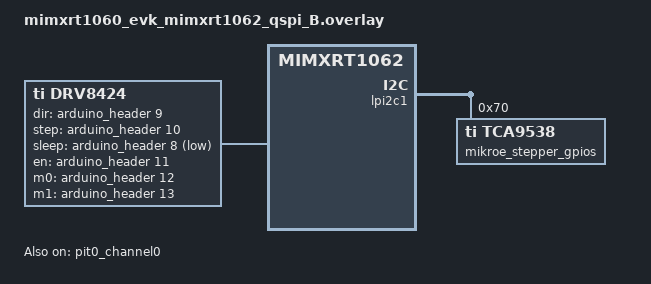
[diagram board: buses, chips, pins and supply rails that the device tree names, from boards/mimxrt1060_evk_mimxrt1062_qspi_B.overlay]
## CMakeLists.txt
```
# SPDX-FileCopyrightText: Copyright (c) 2024 Jilay Sandeep Pandya
# SPDX-License-Identifier: Apache-2.0

cmake_minimum_required(VERSION 3.20.0)
find_package(Zephyr REQUIRED HINTS $ENV{ZEPHYR_BASE})
project(zephyr_stepper_motion_control)

target_sources(app PRIVATE src/main.c)
```

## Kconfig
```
# Copyright (c) 2024 Josselin Bunt
# SPDX-License-Identifier: Apache-2.0

mainmenu "Stepper API Test"

source "Kconfig.zephyr"

config STEPPER_TEST_TIMING_TIMEOUT_TOLERANCE_PCT
	int "Stepper timing tolerance percentage"
	default 20
	help
	  Additional margin (%) added to step timing during test timeouts.
	  Accounts for execution and scheduling jitter.

config STEPPER_TEST_MICROSTEP_RESOLUTION
	int "Test microstep resolution"
	default 4
	help
	  Microstep resolution used to test setting the microstep resolution.
	  As not all drivers support all microstep resolutions, so this needs to be adjusted
	  on a per drvier basis.

config STEPPER_TEST_MICROSTEP_INTERVAL
	int "Microstep interval used for tests in usec"
	default 40000000
	range 1000000 1000000000
```

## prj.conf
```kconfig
# SPDX-FileCopyrightText: Copyright (c) 2024 Jilay Sandeep Pandya
# SPDX-License-Identifier: Apache-2.0

CONFIG_ZTEST=y
CONFIG_TEST=y
CONFIG_LOG=y
CONFIG_STEPPER_LOG_LEVEL_DBG=y
CONFIG_STEPPER=y
CONFIG_POLL=y
```

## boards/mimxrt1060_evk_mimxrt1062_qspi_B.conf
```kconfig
# Copyright (c) 2024 Navimatix GmbH
# SPDX-License-Identifier: Apache-2.0

CONFIG_BASE_MS_RESOLUTION=1
CONFIG_TEST_MS_RESOLUTION=4
CONFIG_INCORRECT_MS_RESOLUTION=3
CONFIG_SPEED_STEPS=50
```

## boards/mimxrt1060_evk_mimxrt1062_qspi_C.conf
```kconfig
# SPDX-FileCopyrightText: Copyright (c) 2025 Navimatix GmbH
# SPDX-License-Identifier: Apache-2.0

CONFIG_BASE_MS_RESOLUTION=1
CONFIG_TEST_MS_RESOLUTION=4
CONFIG_INCORRECT_MS_RESOLUTION=3
CONFIG_SPEED_STEPS=50
```

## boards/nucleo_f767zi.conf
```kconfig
# Copyright (c) 2024 Navimatix GmbH
# SPDX-License-Identifier: Apache-2.0

CONFIG_GPIO=y
```

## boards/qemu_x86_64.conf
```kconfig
# SPDX-FileCopyrightText: Copyright (c) 2024 Jilay Sandeep Pandya
# SPDX-License-Identifier: Apache-2.0

CONFIG_BASE_MS_RESOLUTION=1
CONFIG_TEST_MS_RESOLUTION=2
CONFIG_INCORRECT_MS_RESOLUTION=3
CONFIG_SPEED_STEPS=50
```

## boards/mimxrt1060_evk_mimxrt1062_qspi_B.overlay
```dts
/*
 * SPDX-FileCopyrightText: Copyright (c) 2025 Navimatix GmbH
 * SPDX-License-Identifier: Apache-2.0
 */

#include <zephyr/dt-bindings/gpio/gpio.h>

&lpi2c1 {
	status = "okay";

	mikroe_stepper_gpios: mikroe_stepper_ctrl_tca9538a@70 {
		status = "okay";
		compatible = "ti,tca9538";

		reg = <0x70>;

		gpio-controller;
		ngpios = <8>;
		#gpio-cells = <2>;

		gpio-reserved-ranges = <7 1>;

		gpio-line-names =
			"M0",
			"M1",
			"DEC0",
			"DEC1",
			"TOFF",
			"STP",
			"DIR";
	};
};

/ {
	chosen {
		zephyr,stepper = &drv8424;
	};

	drv8424: drv8424{
		status = "okay";
		compatible = "ti,drv8424";

		dir-gpios = <&arduino_header 9 0>; /* D3 */
		step-gpios = <&arduino_header 10 0>; /* D4 */
		sleep-gpios = <&arduino_header 8 GPIO_ACTIVE_LOW>; /* D2 */
		en-gpios  = <&arduino_header 11 0>; /* D5 */
		// m0-gpios = <&mikroe_stepper_gpios 0 0>;
		// m1-gpios = <&mikroe_stepper_gpios 1 0>;
		m0-gpios = <&arduino_header 12 0>;
		m1-gpios = <&arduino_header 13 0>;
		counter = <&pit0_channel0>;
	};
};

&pit0_channel0 {
	status = "okay";
};
```

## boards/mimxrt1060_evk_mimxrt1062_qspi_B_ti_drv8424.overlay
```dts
/*
 * Copyright (c) 2024 Navimatix GmbH
 * SPDX-License-Identifier: Apache-2.0
 */

#include <zephyr/dt-bindings/gpio/gpio.h>

/ {
	aliases {
		stepper =  &drv8424;
	};
};

&lpi2c1 {
	status = "okay";

	mikroe_stepper_gpios: mikroe_stepper_ctrl_tca9538a@70 {
		status = "okay";
		compatible = "ti,tca9538";

		reg = <0x70>;

		gpio-controller;
		ngpios = <8>;
		#gpio-cells = <2>;

		gpio-reserved-ranges = <7 1>;

		gpio-line-names =
			"M0",
			"M1",
			"DEC0",
			"DEC1",
			"TOFF",
			"STP",
			"DIR";
	};
};

/ {
	drv8424: drv8424 {
		status = "okay";
		compatible = "ti,drv8424";

		dir-gpios = <&arduino_header 9 0>; /* D3 */
		step-gpios = <&arduino_header 10 0>; /* D4 */
		sleep-gpios = <&arduino_header 8 GPIO_ACTIVE_LOW>; /* D2 */
		en-gpios  = <&arduino_header 11 0>; /* D5 */
		m0-gpios = <&mikroe_stepper_gpios 0 0>;
		m1-gpios = <&mikroe_stepper_gpios 1 0>;
		counter = <&pit0_channel0>;
	};
};

&pit0_channel0 {
	status = "okay";
};
```

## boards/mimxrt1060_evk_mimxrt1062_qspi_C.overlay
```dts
/*
 * SPDX-FileCopyrightText: Copyright (c) 2025 Navimatix GmbH
 * SPDX-License-Identifier: Apache-2.0
 */

#include <zephyr/dt-bindings/gpio/gpio.h>

&lpi2c1 {
	status = "okay";

	mikroe_stepper_gpios: mikroe_stepper_ctrl_tca9538a@70 {
		status = "okay";
		compatible = "ti,tca9538";

		reg = <0x70>;

		gpio-controller;
		ngpios = <8>;
		#gpio-cells = <2>;

		gpio-reserved-ranges = <7 1>;

		gpio-line-names =
			"M0",
			"M1",
			"DEC0",
			"DEC1",
			"TOFF",
			"STP",
			"DIR";
	};
};

/ {
	chosen {
		zephyr,stepper = &drv8424;
	};

	drv8424: drv8424 {
		status = "okay";
		compatible = "ti,drv8424";

		dir-gpios = <&arduino_header 9 0>; /* D3 */
		step-gpios = <&arduino_header 10 0>; /* D4 */
		sleep-gpios = <&arduino_header 8 GPIO_ACTIVE_LOW>; /* D2 */
		en-gpios  = <&arduino_header 11 0>; /* D5 */
		m0-gpios = <&mikroe_stepper_gpios 0 0>;
		m1-gpios = <&mikroe_stepper_gpios 1 0>;
		counter = <&pit0_channel0>;
	};
};

&pit0_channel0 {
	status = "okay";
};
```

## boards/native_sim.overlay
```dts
/*
 * SPDX-FileCopyrightText: Copyright (c) 2025 Navimatix GmbH
 * SPDX-License-Identifier: Apache-2.0
 */

#include <zephyr/dt-bindings/gpio/gpio.h>

/ {
	chosen {
		zephyr,stepper = &drv8424;
	};

	drv8424: drv8424 {
		status = "okay";
		compatible = "ti,drv8424";


		dir-gpios = <&gpio1 0 0>; /* D3 */
		step-gpios = <&gpio1 1 0>; /* D4 */
		sleep-gpios = <&gpio2 0 GPIO_ACTIVE_LOW>; /* D2 */
		en-gpios = <&gpio2 1 0>; /* 5 */
		m0-gpios = <&gpio3 0 0>;
		m1-gpios = <&gpio3 1 0>;
		counter = <&counter0>;

		#address-cells = <1>;
		#size-cells = <0>;
		#stepper-motor-cells = <0>;
	};

	gpio1: gpio1 {
		compatible = "zephyr,gpio-emul";
		#gpio-cells = <0x2>;
		status = "okay";
		gpio-controller;
	};

	gpio2: gpio2 {
		compatible = "zephyr,gpio-emul";
		#gpio-cells = <0x2>;
		status = "okay";
		gpio-controller;
	};

	gpio3: gpio3 {
		compatible = "zephyr,gpio-emul";
		#gpio-cells = <0x2>;
		status = "okay";
		gpio-controller;
	};
};
```

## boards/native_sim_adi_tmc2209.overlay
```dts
/*
 * Copyright (c) 2025 Jilay Sandeep Pandya
 * SPDX-License-Identifier: Apache-2.0
 */

#include "native_sim.overlay"

/ {
	aliases {
		stepper = &adi_tmc2209;
	};
};

/ {
	adi_tmc2209: adi_tmc2209 {
		status = "okay";
		compatible = "adi,tmc2209";
		micro-step-res = <32>;
		dir-gpios = <&gpio1 0 0>;
		step-gpios = <&gpio1 1 0>;
		en-gpios = <&gpio2 1 0>;
		m0-gpios = <&gpio3 0 0>;
		m1-gpios = <&gpio4 1 0>;
		counter = <&counter0>;
		dual-edge-step;
	};
};
```

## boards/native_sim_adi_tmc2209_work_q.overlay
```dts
/*
 * Copyright (c) 2025 Josselin Bunt
 * SPDX-License-Identifier: Apache-2.0
 */

#include "native_sim.overlay"

/ {
	aliases {
		stepper = &adi_tmc2209;
	};
};

/ {
	adi_tmc2209: adi_tmc2209 {
		status = "okay";
		compatible = "adi,tmc2209";
		micro-step-res = <32>;
		dir-gpios = <&gpio1 0 0>;
		step-gpios = <&gpio1 1 0>;
		en-gpios = <&gpio2 1 0>;
		m0-gpios = <&gpio3 0 0>;
		m1-gpios = <&gpio4 1 0>;
		dual-edge-step;
	};
};
```

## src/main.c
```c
/*
 * SPDX-FileCopyrightText: Copyright (c) 2025 Jilay Sandeep Pandya
 * SPDX-License-Identifier: Apache-2.0
 */

#include <zephyr/ztest.h>
#include <zephyr/drivers/stepper.h>

#include <zephyr/logging/log.h>
LOG_MODULE_REGISTER(stepper_api, CONFIG_STEPPER_LOG_LEVEL);

struct stepper_fixture {
	const struct device *dev;
	stepper_event_callback_t callback;
};

struct k_poll_signal stepper_signal;
struct k_poll_event stepper_event;
void *user_data_received;

#define POLL_AND_CHECK_SIGNAL(signal, event, expected_event, timeout)                              \
	({                                                                                         \
		do {                                                                               \
			(void)k_poll(&(event), 1, timeout);                                        \
			unsigned int signaled;                                                     \
			int result;                                                                \
			k_poll_signal_check(&(signal), &signaled, &result);                        \
			zassert_equal(signaled, 1, "Signal not set");                              \
			zassert_equal(result, (expected_event), "Signal not set");                 \
		} while (0);                                                                       \
	})

static void stepper_print_event_callback(const struct device *dev, enum stepper_event event,
					 void *user_data)
{
	const struct device *dev_callback = user_data;
	user_data_received = user_data;

	switch (event) {
	case STEPPER_EVENT_STEPS_COMPLETED:
		k_poll_signal_raise(&stepper_signal, STEPPER_EVENT_STEPS_COMPLETED);
		break;
	case STEPPER_EVENT_LEFT_END_STOP_DETECTED:
		k_poll_signal_raise(&stepper_signal, STEPPER_EVENT_LEFT_END_STOP_DETECTED);
		break;
	case STEPPER_EVENT_RIGHT_END_STOP_DETECTED:
		k_poll_signal_raise(&stepper_signal, STEPPER_EVENT_RIGHT_END_STOP_DETECTED);
		break;
	case STEPPER_EVENT_STOPPED:
		k_poll_signal_raise(&stepper_signal, STEPPER_EVENT_STOPPED);
		break;
	default:
		break;
	}

	LOG_DBG("Event %d, %s called for %s, expected for %s\n", event, __func__,
		dev_callback->name, dev->name);
}

static void *stepper_setup(void)
{
	static struct stepper_fixture fixture = {
		.dev = DEVICE_DT_GET(DT_ALIAS(stepper)),
		.callback = stepper_print_event_callback,
	};

	k_poll_signal_init(&stepper_signal);
	k_poll_event_init(&stepper_event, K_POLL_TYPE_SIGNAL, K_POLL_MODE_NOTIFY_ONLY,
			  &stepper_signal);

	zassert_not_null(fixture.dev);
	zassert_equal(
		stepper_set_event_callback(fixture.dev, fixture.callback, (void *)fixture.dev), 0,
		"Failed to set event callback");
	return &fixture;
}

static void stepper_before(void *f)
{
	struct stepper_fixture *fixture = f;
	(void)stepper_set_reference_position(fixture->dev, 0);

	k_poll_signal_reset(&stepper_signal);

	user_data_received = NULL;
}

ZTEST_SUITE(stepper, NULL, stepper_setup, stepper_before, NULL, NULL);

ZTEST_F(stepper, test_set_micro_step_interval_invalid_zero)
{
	int err = stepper_set_microstep_interval(fixture->dev, 0);
	if (err == -ENOSYS) {
		ztest_test_skip();
	}
	zassert_equal(err, -EINVAL, "ustep interval cannot be zero");
}

ZTEST_F(stepper, test_actual_position)
{
	int32_t pos = 100u;
	int ret;

	ret = stepper_set_reference_position(fixture->dev, pos);
	zassert_equal(ret, 0, "Failed to set reference position");

	ret = stepper_get_actual_position(fixture->dev, &pos);
	zassert_equal(ret, 0, "Failed to get actual position");
	zassert_equal(pos, 100u, "Actual position not set correctly");
}

ZTEST_F(stepper, test_move_to_positive_step_count)
{
	int32_t pos = 10u;
	int32_t actual_steps;
	bool moving = false;
	int ret;

	ret = stepper_set_microstep_interval(fixture->dev, 100 * USEC_PER_SEC);
	if (ret == -ENOSYS) {
		ztest_test_skip();
	}

	zassert_ok(stepper_move_to(fixture->dev, pos));
	zassert_ok(stepper_is_moving(fixture->dev, &moving));
	zassert_true(moving, "%s reported not moving after move_to", fixture->dev->name);

	POLL_AND_CHECK_SIGNAL(
		stepper_signal, stepper_event, STEPPER_EVENT_STEPS_COMPLETED,
		K_MSEC(pos * (100 + CONFIG_STEPPER_TEST_TIMING_TIMEOUT_TOLERANCE_PCT)));

	zassert_ok(stepper_get_actual_position(fixture->dev, &actual_steps));
	zassert_equal(pos, actual_steps, "Position should be %d but is %d", pos, actual_steps);
	zassert_equal(user_data_received, fixture->dev, "User data not received");
	zassert_ok(stepper_is_moving(fixture->dev, &moving));
	zassert_false(moving, "%s reported moving even after completion of steps",
		      fixture->dev->name);
}

ZTEST_F(stepper, test_move_to_negative_step_count)
{
	int32_t pos = -10;
	int32_t actual_steps;
	bool moving = false;
	int ret;

	ret = stepper_set_microstep_interval(fixture->dev, 100 * USEC_PER_SEC);
	if (ret == -ENOSYS) {
		ztest_test_skip();
	}

	zassert_ok(stepper_move_to(fixture->dev, pos));
	zassert_ok(stepper_is_moving(fixture->dev, &moving));
	zassert_true(moving, "%s reported not moving after move_to", fixture->dev->name);

	POLL_AND_CHECK_SIGNAL(
		stepper_signal, stepper_event, STEPPER_EVENT_STEPS_COMPLETED,
		K_MSEC(-pos * (100 + CONFIG_STEPPER_TEST_TIMING_TIMEOUT_TOLERANCE_PCT)));

	zassert_ok(stepper_get_actual_position(fixture->dev, &actual_steps));
	zassert_equal(pos, actual_steps, "Position should be %d but is %d", pos, actual_steps);
	zassert_ok(stepper_is_moving(fixture->dev, &moving));
	zassert_false(moving, "%s reported moving even after completion of steps",
		      fixture->dev->name);
}

ZTEST_F(stepper, test_move_by_positive_step_count)
{
	int32_t steps = 20;
	int32_t actual_steps;
	bool moving = false;
	int ret;

	ret = stepper_set_microstep_interval(fixture->dev, 100 * USEC_PER_SEC);
	if (ret == -ENOSYS) {
		ztest_test_skip();
	}

	zassert_ok(stepper_move_by(fixture->dev, steps));
	zassert_ok(stepper_is_moving(fixture->dev, &moving));
	zassert_true(moving, "%s reported not moving after move_by", fixture->dev->name);

	POLL_AND_CHECK_SIGNAL(
		stepper_signal, stepper_event, STEPPER_EVENT_STEPS_COMPLETED,
		K_MSEC(steps * (100 + CONFIG_STEPPER_TEST_TIMING_TIMEOUT_TOLERANCE_PCT)));

	zassert_ok(stepper_get_actual_position(fixture->dev, &actual_steps));
	zassert_equal(steps, actual_steps, "Position should be %d but is %d", steps, actual_steps);
	zassert_ok(stepper_is_moving(fixture->dev, &moving));
	zassert_false(moving, "%s reported moving even after completion of steps",
		      fixture->dev->name);
}

ZTEST_F(stepper, test_move_by_negative_step_count)
{
	int32_t steps = -20;
	int32_t actual_steps;
	bool moving = false;
	int ret;

	ret = stepper_set_microstep_interval(fixture->dev, 100 * USEC_PER_SEC);
	if (ret == -ENOSYS) {
		ztest_test_skip();
	}

	zassert_ok(stepper_move_by(fixture->dev, steps));
	zassert_ok(stepper_is_moving(fixture->dev, &moving));
	zassert_true(moving, "%s reported not moving after move_by", fixture->dev->name);

	POLL_AND_CHECK_SIGNAL(
		stepper_signal, stepper_event, STEPPER_EVENT_STEPS_COMPLETED,
		K_MSEC(-steps * (100 + CONFIG_STEPPER_TEST_TIMING_TIMEOUT_TOLERANCE_PCT)));

	zassert_ok(stepper_get_actual_position(fixture->dev, &actual_steps));
	zassert_equal(steps, actual_steps, "Position should be %d but is %d", steps, actual_steps);
	zassert_ok(stepper_is_moving(fixture->dev, &moving));
	zassert_false(moving, "%s reported moving even after completion of steps",
		      fixture->dev->name);
}

ZTEST_F(stepper, test_run_positive_direction)
{
	uint64_t step_interval = 20000000;
	int32_t actual_steps = 0;
	int ret;

	ret = stepper_set_microstep_interval(fixture->dev, step_interval);
	if (ret == -ENOSYS) {
		ztest_test_skip();
	}

	zassert_ok(stepper_run(fixture->dev, STEPPER_DIRECTION_POSITIVE));
	k_usleep(110000);

	zassert_ok(stepper_get_actual_position(fixture->dev, &actual_steps));
	zassert_true(IN_RANGE(actual_steps, 1, 6),
		     "Current position should be between 1 and 6 but is %d", actual_steps);
}

ZTEST_F(stepper, test_run_negative_direction)
{
	uint64_t step_interval = 20000000;
	int32_t actual_steps = 0;
	int ret;

	ret = stepper_set_microstep_interval(fixture->dev, step_interval);
	if (ret == -ENOSYS) {
		ztest_test_skip();
	}

	zassert_ok(stepper_run(fixture->dev, STEPPER_DIRECTION_NEGATIVE));
	k_usleep(110000);

	zassert_ok(stepper_get_actual_position(fixture->dev, &actual_steps));
	zassert_true(IN_RANGE(actual_steps, -6, -1),
		     "Current position should be between -6 and -1 but is %d", actual_steps);
}

ZTEST_F(stepper, test_stop)
{
	/* Run the stepper in positive direction */
	(void)stepper_run(fixture->dev, STEPPER_DIRECTION_POSITIVE);

	/* Stop the stepper */
	int ret = stepper_stop(fixture->dev);
	bool is_moving;

	if (ret == 0) {
		POLL_AND_CHECK_SIGNAL(stepper_signal, stepper_event, STEPPER_EVENT_STOPPED,
				      K_NO_WAIT);
		zassert_equal(user_data_received, fixture->dev, "User data not received");

		/* Check if the stepper is stopped */
		stepper_is_moving(fixture->dev, &is_moving);
		zassert_equal(is_moving, false, "Stepper is still moving");
	} else if (ret == -ENOSYS) {
		stepper_is_moving(fixture->dev, &is_moving);
		zassert_equal(is_moving, true,
			      "Stepper should be moving since stop is not implemented");
	} else {
		zassert_unreachable("Stepper stop failed");
	}
}

ZTEST_F(stepper, test_move_zero_steps)
{
	bool moving;
	int32_t pos = 0;
	int32_t actual_steps;
	int err;

	err = stepper_set_microstep_interval(fixture->dev, 100 * USEC_PER_SEC);
	if (err == -ENOSYS) {
		ztest_test_skip();
	}
	zassert_ok(err, "Failed to set microstep interval");

	zassert_ok(stepper_move_by(fixture->dev, pos));
	POLL_AND_CHECK_SIGNAL(stepper_signal, stepper_event, STEPPER_EVENT_STEPS_COMPLETED,
			      K_NO_WAIT);
	zassert_ok(stepper_is_moving(fixture->dev, &moving));
	zassert_false(moving, "%s reported moving even after completion of steps",
		      fixture->dev->name);
	zassert_ok(stepper_move_to(fixture->dev, pos));
	POLL_AND_CHECK_SIGNAL(stepper_signal, stepper_event, STEPPER_EVENT_STEPS_COMPLETED,
			      K_NO_WAIT);
	zassert_ok(stepper_get_actual_position(fixture->dev, &actual_steps));
	zassert_equal(pos, actual_steps, "Position should not have changed from %d", pos);
}
```
